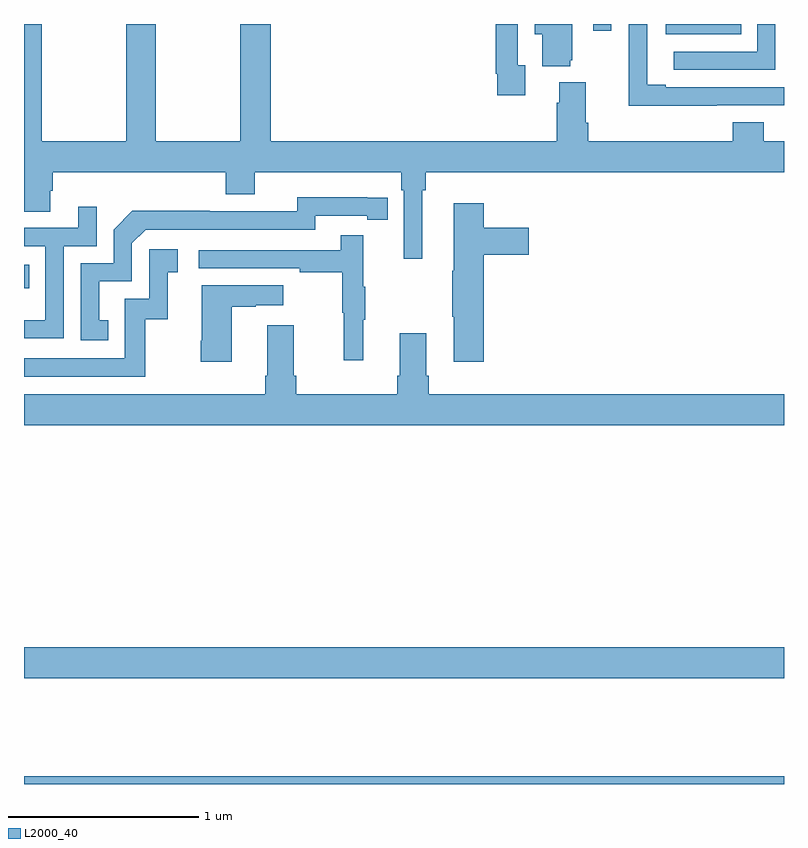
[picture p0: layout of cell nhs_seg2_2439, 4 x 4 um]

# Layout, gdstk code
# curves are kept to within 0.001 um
import gdstk
lib = gdstk.Library(unit=1e-6, precision=1e-09)
def R(c, l, rs):  # rectangles x0, y0, x1, y1
    for r in rs: c.add(gdstk.rectangle(r[:2], r[2:], *l))
def P(c, l, *ps):  # polygons
    for p in ps: c.add(gdstk.Polygon(p, *l))
L2000_40 = (2000, 40)

nhs_seg2_2439 = lib.new_cell('nhs_seg2_2439')
R(nhs_seg2_2439, L2000_40, [(239,593.8,243,593.84), (239,594.356,243,594.52), (239,596.409,239.027,596.532), (242.378,597.746,242.774,597.8), (241.995,597.765,242.091,597.8)])
P(nhs_seg2_2439, L2000_40, [(242.645,597.372),(243,597.372),(243,597.468),(242.377,597.468),(242.377,597.481),(242.281,597.481),(242.281,597.677),(242.28,597.677),(242.28,597.8),(242.184,597.8),(242.184,597.677),(242.182,597.677),(242.182,597.371),(242.645,597.371)],
  [(241.096,596.924),(241.115,596.924),(241.115,597.02),(243,597.02),(243,597.184),(242.894,597.184),(242.894,597.283),(242.729,597.283),(242.729,597.184),(241.97,597.184),(241.97,597.28),(241.957,597.28),(241.957,597.493),(241.817,597.493),(241.817,597.386),(241.805,597.386),(241.805,597.184),(240.299,597.184),(240.299,597.8),(240.139,597.8),(240.139,597.184),(239.694,597.184),(239.694,597.8),(239.539,597.8),(239.539,597.184),(239.094,597.184),(239.094,597.8),(239,597.8),(239,596.812),(239.137,596.812),(239.137,596.922),(239.15,596.922),(239.15,597.02),(240.062,597.02),(240.062,596.903),(240.214,596.903),(240.214,597.02),(240.986,597.02),(240.986,596.924),(240.999,596.924),(240.999,596.565),(241.096,596.565)],
  [(241.874,597.609),(241.885,597.609),(241.885,597.8),(241.688,597.8),(241.688,597.746),(241.727,597.746),(241.727,597.578),(241.874,597.578)],
  [(241.639,597.582),(241.599,597.582),(241.599,597.8),(241.483,597.8),(241.483,597.538),(241.491,597.538),(241.491,597.426),(241.639,597.426)],
  [(242.955,597.8),(242.859,597.8),(242.859,597.654),(242.421,597.654),(242.421,597.558),(242.955,597.558)],
  [(239.444,596.241),(239.395,596.241),(239.395,596.445),(239.568,596.445),(239.568,596.646),(239.64,596.718),(240.534,596.718),(240.534,596.79),(240.806,596.79),(240.806,596.77),(240.914,596.77),(240.914,596.886),(240.438,596.887),(240.438,596.814),(239.978,596.814),(239.978,596.816),(239.57,596.816),(239.472,596.718),(239.472,596.541),(239.298,596.541),(239.298,596.136),(239.444,596.136)],
  [(241.421,596.585),(241.657,596.585),(241.657,596.727),(241.421,596.727),(241.421,596.857),(241.262,596.857),(241.262,596.501),(241.255,596.501),(241.255,596.26),(241.262,596.26),(241.262,596.022),(241.421,596.022)],
  [(239.208,596.631),(239.382,596.631),(239.382,596.839),(239.285,596.839),(239.285,596.727),(239,596.727),(239,596.631),(239.112,596.631),(239.112,596.242),(239,596.242),(239,596.145),(239.208,596.145)],
  [(240.785,596.243),(240.796,596.243),(240.796,596.417),(240.785,596.417),(240.785,596.689),(240.667,596.689),(240.667,596.61),(239.919,596.61),(239.919,596.514),(240.451,596.514),(240.451,596.494),(240.675,596.494),(240.675,596.28),(240.682,596.28),(240.682,596.031),(240.785,596.031)],
  [(239.638,596.247),(239.756,596.247),(239.756,596.493),(239.809,596.493),(239.809,596.614),(239.658,596.614),(239.658,596.355),(239.529,596.355),(239.529,596.04),(239,596.04),(239,595.944),(239.638,595.944)],
  [(240.094,596.311),(240.221,596.311),(240.221,596.321),(240.364,596.321),(240.364,596.425),(239.936,596.425),(239.936,596.134),(239.929,596.134),(239.929,596.022),(240.094,596.022)],
  [(243,595.852),(241.13,595.852),(241.13,595.948),(241.117,595.948),(241.117,596.173),(240.977,596.173),(240.977,595.948),(240.965,595.948),(240.965,595.852),(240.434,595.852),(240.434,595.948),(240.421,595.948),(240.421,596.215),(240.281,596.215),(240.281,595.948),(240.269,595.948),(240.269,595.852),(239,595.852),(239,595.688),(243,595.688)])

lib.write_gds('nhs_seg2_2439.gds')
